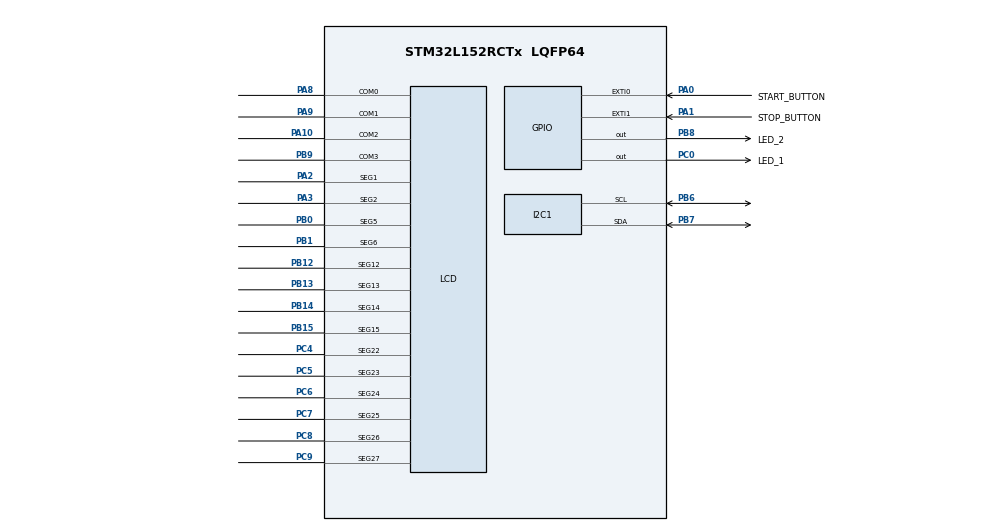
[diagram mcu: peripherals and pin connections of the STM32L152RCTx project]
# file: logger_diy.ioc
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LCD.Contrast=LCD_CONTRASTLEVEL_3
LCD.HighDrive=ENABLE
LCD.PulseOnDuration=LCD_PULSEONDURATION_7
Mcu.Family=STM32L1
Mcu.Name=STM32L152RCTx
Mcu.Package=LQFP64
NVIC.EXTI1_IRQn=true\:0\:0\:false\:false\:true\:true\:true\:true
NVIC.PriorityGroup=NVIC_PRIORITYGROUP_4
PA0-WKUP1.GPIO_Label=START_BUTTON
PA0-WKUP1.GPIO_PuPd=GPIO_PULLUP
PA0-WKUP1.Signal=GPXTI0
PA1.GPIO_Label=STOP_BUTTON
PA1.GPIO_PuPd=GPIO_PULLUP
PA1.Signal=GPXTI1
PA10.Mode=1/4 Duty Cycle
PA10.Signal=LCD_COM2
PA13.Mode=Serial_Wire
PA13.Signal=SYS_JTMS-SWDIO
PA14.Mode=Serial_Wire
PA14.Signal=SYS_JTCK-SWCLK
PA2.Mode=SEG1
PA2.Signal=LCD_SEG1
PA3.Mode=SEG2
PA3.Signal=LCD_SEG2
PA8.Mode=1/4 Duty Cycle
PA8.Signal=LCD_COM0
PA9.Mode=1/4 Duty Cycle
PA9.Signal=LCD_COM1
PB0.Mode=SEG5
PB0.Signal=LCD_SEG5
PB1.Mode=SEG6
PB1.Signal=LCD_SEG6
PB12.Mode=SEG12
PB12.Signal=LCD_SEG12
PB13.Mode=SEG13
PB13.Signal=LCD_SEG13
PB14.Mode=SEG14
PB14.Signal=LCD_SEG14
PB15.Mode=SEG15
PB15.Signal=LCD_SEG15
PB6.Mode=I2C
PB6.Signal=I2C1_SCL
PB7.Mode=I2C
PB7.Signal=I2C1_SDA
PB8.GPIO_Label=LED_2
PB8.Signal=GPIO_Output
PB9.Mode=1/4 Duty Cycle
PB9.Signal=LCD_COM3
PC0.GPIO_Label=LED_1
PC0.Signal=GPIO_Output
PC14-OSC32_IN.Mode=LSE-External-Oscillator
PC14-OSC32_IN.Signal=RCC_OSC32_IN
PC15-OSC32_OUT.Mode=LSE-External-Oscillator
PC15-OSC32_OUT.Signal=RCC_OSC32_OUT
PC4.Mode=SEG22
PC4.Signal=LCD_SEG22
PC5.Mode=SEG23
PC5.Signal=LCD_SEG23
PC6.Mode=SEG24
PC6.Signal=LCD_SEG24
PC7.Mode=SEG25
PC7.Signal=LCD_SEG25
PC8.Mode=SEG26
PC8.Signal=LCD_SEG26
PC9.Mode=SEG27
PC9.Signal=LCD_SEG27
PH0-OSC_IN.Mode=HSE-External-Oscillator
PH0-OSC_IN.Signal=RCC_OSC_IN
PH1-OSC_OUT.Mode=HSE-External-Oscillator
PH1-OSC_OUT.Signal=RCC_OSC_OUT
ProjectManager.HeapSize=0x200
ProjectManager.StackSize=0x400
ProjectManager.TargetToolchain=STM32CubeIDE
RCC.48MHZClocksFreq_Value=12000000
RCC.AHBCLKDivider=RCC_SYSCLK_DIV4
RCC.AHBFreq_Value=524250
RCC.APB1Freq_Value=524250
RCC.APB1TimFreq_Value=524250
RCC.APB2Freq_Value=524250
RCC.APB2TimFreq_Value=524250
RCC.HCLKFreq_Value=524250
RCC.HSE_VALUE=8000000
RCC.HSI_VALUE=16000000
RCC.MSI_VALUE=2097000
RCC.PLLDIV=RCC_PLL_DIV3
RCC.PLLSourceVirtual=RCC_PLLSOURCE_HSE
RCC.RTCClockSelection=RCC_RTCCLKSOURCE_LSE
RCC.RTCClockSelectionVirtual=RCC_RTCCLKSOURCE_LSE
RCC.SYSCLKFreq_VALUE=2097000
RCC.VCOOutputFreq_Value=24000000
board=custom

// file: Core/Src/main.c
/* USER CODE BEGIN Header */
/**
  ******************************************************************************
  * @file           : main.c
  * @brief          : Main program body
  ******************************************************************************
  * @attention
  *
  * Copyright (c) 2024 STMicroelectronics.
  * All rights reserved.
  *
  * This software is licensed under terms that can be found in the LICENSE file
  * in the root directory of this software component.
  * If no LICENSE file comes with this software, it is provided AS-IS.
  *
  ******************************************************************************
  */
/* USER CODE END Header */
#include "main.h"

/* USER CODE BEGIN Includes */
#include "TempTale.h"
#include "TempTale_LCD.h"

/* USER CODE END Includes */

/* USER CODE BEGIN PD */

TT_COM com = TT_COM_0;
TMP112_t sensor={0};
/* USER CODE END PD */

/* USER CODE BEGIN PM */

extern bmp_t  bmp;

TempTale_t device;
/* USER CODE END PM */

I2C_HandleTypeDef hi2c1;

LCD_HandleTypeDef hlcd;

/* USER CODE BEGIN PV */

void HAL_GPIO_EXTI_Callback(uint16_t GPIO_Pin)
{
    uint32_t press_time = HAL_GetTick()-device.button_press_time;

    if(press_time>300 && device.button_pressed)
    {
//        HAL_GPIO_TogglePin(LED_1_GPIO_Port,LED_1_Pin);

        if(GPIO_Pin == START_BUTTON_Pin)
        {
            TT_start_button_long_press_handler();
        }

        if(GPIO_Pin == STOP_BUTTON_Pin)
        {
            TT_stop_button_long_press_handler();
        }
    }
    else
    {
        if(GPIO_Pin == START_BUTTON_Pin)
        {
            TT_start_button_click_handler();
        }

        if(GPIO_Pin == STOP_BUTTON_Pin)
        {
            TT_stop_button_click_handler();
        }
    }

//    HAL_GPIO_TogglePin(LED_1_GPIO_Port,LED_1_Pin);
//    HAL_GPIO_TogglePin(LED_2_GPIO_Port,LED_2_Pin);
    device.button_pressed = 0;
}

int TT_start_button_click_handler()
{
    TT_toggle_mode(&device);
    return 0;
}

int TT_stop_button_click_handler()
{
    //HAL_GPIO_TogglePin(LED_1_GPIO_Port,LED_1_Pin);
    return 0;
}
int TT_start_button_long_press_handler()
{
    //HAL_GPIO_TogglePin(LED_2_GPIO_Port,LED_2_Pin);
    TT_toggle_mode(&device);
    return 0;
}

int TT_stop_button_long_press_handler()
{
//    HAL_GPIO_TogglePin(LED_1_GPIO_Port,LED_1_Pin);
    device.enter_standby = 1;
//    TT_enter_standby();
    return 0;
}

int pressure_refresh()
{

    bmp.uncomp.temp = get_ut ();
    bmp.data.temp = get_temp (&bmp);
    bmp.uncomp.press = get_up (bmp.oss);
    bmp.data.press = get_pressure (bmp);
    bmp.data.altitude = get_altitude (&bmp);

    TT_add_pressure_record(&device);

    return 0;
}
int temperature_refresh()
{
    if(TMP_Read(&sensor)!=0)
    {
        // while (1);
    }
    return 0;
}

int button_press_handler()
{
    if(!HAL_GPIO_ReadPin(START_BUTTON_GPIO_Port,START_BUTTON_Pin) || !HAL_GPIO_ReadPin(STOP_BUTTON_GPIO_Port,STOP_BUTTON_Pin))  //If any of the buttons is pressed
    {
        if(device.button_pressed)
        {

        } else
        {
            device.button_pressed=1;
            device.button_press_time = HAL_GetTick();
        }

    }
    return 0;
}

/* USER CODE END PV */

void SystemClock_Config(void);
static void MX_GPIO_Init(void);
static void MX_LCD_Init(void);
static void MX_I2C1_Init(void);
/* USER CODE BEGIN PFP */

void TT_enter_standby()
{
    HAL_GPIO_WritePin(LED_2_GPIO_Port,LED_2_Pin,1);
    HAL_Delay(10);
    HAL_GPIO_WritePin(LED_2_GPIO_Port,LED_2_Pin,0);

    HAL_SuspendTick();
    HAL_LCD_DeInit(&hlcd);

    HAL_GPIO_WritePin(LED_1_GPIO_Port,LED_1_Pin,0);
    HAL_GPIO_WritePin(LED_2_GPIO_Port,LED_2_Pin,0);
    bmp_disable(&bmp);
    HAL_I2C_DeInit(&hi2c1);
    HAL_PWR_EnterSTOPMode(PWR_LOWPOWERREGULATOR_ON,PWR_STOPENTRY_WFI);
//    HAL_PWR_EnableWakeUpPin(PWR_WAKEUP_PIN1);
//    HAL_PWR_EnterSTANDBYMode();
    //Return back to normal power state:
    HAL_I2C_Init(&hi2c1);
    SystemClock_Config();
    bmp_init(&bmp);
    TempTale_init(&device);
    HAL_LCD_Init(&hlcd);
    HAL_GPIO_WritePin(LED_1_GPIO_Port,LED_1_Pin,1);
    HAL_Delay(10);
    HAL_GPIO_WritePin(LED_1_GPIO_Port,LED_1_Pin,0);
    //For some reason enabling WakeUp pin makes is wake up instantly in standby

}
/* USER CODE END PFP */

int main(void)
{

  /* MCU Configuration--------------------------------------------------------*/

  /* Reset of all peripherals, Initializes the Flash interface and the Systick. */
  HAL_Init();

  /* Configure the system clock */
  SystemClock_Config();

  /* Initialize all configured peripherals */
  MX_GPIO_Init();
  MX_LCD_Init();
  MX_I2C1_Init();

  /* Infinite loop */
  /* USER CODE BEGIN WHILE */

    TT_Display_t lcd;
    lcd.hlcd = &hlcd;
    sensor.i2c = &hi2c1;
    bmp_init(&bmp);

    device.lcd = &lcd;
    device.pressure_sensor = &bmp;
    device.temperature_sensor = &sensor;
    device.state = TT_Altitude;

   // pressure_refresh();

//    for(int i = 0; i <TT_PRESSURE_RECORD_COUNT; i++)
//    {
//        pressure_refresh();
//    }

    TempTale_init(&device);

    HAL_GPIO_WritePin(LED_1_GPIO_Port,LED_1_Pin,0);
    HAL_GPIO_WritePin(LED_2_GPIO_Port,LED_2_Pin,0);

    int k=0;

    while (1)
  {
      /* USER CODE END WHILE */

      /* USER CODE BEGIN 3 */

    while(1) {

        for(int i = 0; i <2; i++)
        {
            pressure_refresh();
        }
        temperature_refresh();

        HAL_LCD_Clear(&hlcd);
        TempTale_mode_executor(&device);
        HAL_LCD_UpdateDisplayRequest(&hlcd);

        if(!device.zero_set)
        {
            if(k == 30)
            {
                device.zero_altitude = TT_avg_altitude(&device);
                device.zero_set = 1;
            }

        }

//        HAL_Delay(150);

        //HAL_GPIO_TogglePin(LED_2_GPIO_Port,LED_2_Pin);

        button_press_handler();

        k++;

        if(device.enter_standby)
        {
            TT_enter_standby();
            device.enter_standby = 0;
        }
    }
  }
  /* USER CODE END 3 */
}

void SystemClock_Config(void)
{
  RCC_OscInitTypeDef RCC_OscInitStruct = {0};
  RCC_ClkInitTypeDef RCC_ClkInitStruct = {0};
  RCC_PeriphCLKInitTypeDef PeriphClkInit = {0};

  /** Configure the main internal regulator output voltage
  */
  __HAL_PWR_VOLTAGESCALING_CONFIG(PWR_REGULATOR_VOLTAGE_SCALE1);

  /** Initializes the RCC Oscillators according to the specified parameters
  * in the RCC_OscInitTypeDef structure.
  */
  RCC_OscInitStruct.OscillatorType = RCC_OSCILLATORTYPE_HSE|RCC_OSCILLATORTYPE_LSE;
  RCC_OscInitStruct.HSEState = RCC_HSE_ON;
  RCC_OscInitStruct.LSEState = RCC_LSE_ON;
  RCC_OscInitStruct.PLL.PLLState = RCC_PLL_NONE;
  if (HAL_RCC_OscConfig(&RCC_OscInitStruct) != HAL_OK)
  {
    Error_Handler();
  }

  /** Initializes the CPU, AHB and APB buses clocks
  */
  RCC_ClkInitStruct.ClockType = RCC_CLOCKTYPE_HCLK|RCC_CLOCKTYPE_SYSCLK
                              |RCC_CLOCKTYPE_PCLK1|RCC_CLOCKTYPE_PCLK2;
  RCC_ClkInitStruct.SYSCLKSource = RCC_SYSCLKSOURCE_HSE;
  RCC_ClkInitStruct.AHBCLKDivider = RCC_SYSCLK_DIV4;
  RCC_ClkInitStruct.APB1CLKDivider = RCC_HCLK_DIV1;
  RCC_ClkInitStruct.APB2CLKDivider = RCC_HCLK_DIV1;

  if (HAL_RCC_ClockConfig(&RCC_ClkInitStruct, FLASH_LATENCY_0) != HAL_OK)
  {
    Error_Handler();
  }
  PeriphClkInit.PeriphClockSelection = RCC_PERIPHCLK_RTC|RCC_PERIPHCLK_LCD;
  PeriphClkInit.RTCClockSelection = RCC_RTCCLKSOURCE_LSE;
  PeriphClkInit.LCDClockSelection = RCC_RTCCLKSOURCE_LSE;

  if (HAL_RCCEx_PeriphCLKConfig(&PeriphClkInit) != HAL_OK)
  {
    Error_Handler();
  }
}

static void MX_I2C1_Init(void)
{

  hi2c1.Instance = I2C1;
  hi2c1.Init.ClockSpeed = 100000;
  hi2c1.Init.DutyCycle = I2C_DUTYCYCLE_2;
  hi2c1.Init.OwnAddress1 = 0;
  hi2c1.Init.AddressingMode = I2C_ADDRESSINGMODE_7BIT;
  hi2c1.Init.DualAddressMode = I2C_DUALADDRESS_DISABLE;
  hi2c1.Init.OwnAddress2 = 0;
  hi2c1.Init.GeneralCallMode = I2C_GENERALCALL_DISABLE;
  hi2c1.Init.NoStretchMode = I2C_NOSTRETCH_DISABLE;
  if (HAL_I2C_Init(&hi2c1) != HAL_OK)
  {
    Error_Handler();
  }

}

static void MX_LCD_Init(void)
{

  hlcd.Instance = LCD;
  hlcd.Init.Prescaler = LCD_PRESCALER_1;
  hlcd.Init.Divider = LCD_DIVIDER_16;
  hlcd.Init.Duty = LCD_DUTY_1_4;
  hlcd.Init.Bias = LCD_BIAS_1_4;
  hlcd.Init.VoltageSource = LCD_VOLTAGESOURCE_INTERNAL;
  hlcd.Init.Contrast = LCD_CONTRASTLEVEL_3;
  hlcd.Init.DeadTime = LCD_DEADTIME_0;
  hlcd.Init.PulseOnDuration = LCD_PULSEONDURATION_7;
  hlcd.Init.MuxSegment = LCD_MUXSEGMENT_DISABLE;
  hlcd.Init.BlinkMode = LCD_BLINKMODE_OFF;
  hlcd.Init.BlinkFrequency = LCD_BLINKFREQUENCY_DIV8;
  if (HAL_LCD_Init(&hlcd) != HAL_OK)
  {
    Error_Handler();
  }

  /** Enable the High Driver
  */
  __HAL_LCD_HIGHDRIVER_ENABLE(&hlcd);

}

static void MX_GPIO_Init(void)
{
  GPIO_InitTypeDef GPIO_InitStruct = {0};

  /* GPIO Ports Clock Enable */
  __HAL_RCC_GPIOC_CLK_ENABLE();
  __HAL_RCC_GPIOH_CLK_ENABLE();
  __HAL_RCC_GPIOA_CLK_ENABLE();
  __HAL_RCC_GPIOB_CLK_ENABLE();

  /*Configure GPIO pin Output Level */
  HAL_GPIO_WritePin(LED_1_GPIO_Port, LED_1_Pin, GPIO_PIN_RESET);

  /*Configure GPIO pin Output Level */
  HAL_GPIO_WritePin(LED_2_GPIO_Port, LED_2_Pin, GPIO_PIN_RESET);

  /*Configure GPIO pin : LED_1_Pin */
  GPIO_InitStruct.Pin = LED_1_Pin;
  GPIO_InitStruct.Mode = GPIO_MODE_OUTPUT_PP;
  GPIO_InitStruct.Pull = GPIO_NOPULL;
  GPIO_InitStruct.Speed = GPIO_SPEED_FREQ_LOW;
  HAL_GPIO_Init(LED_1_GPIO_Port, &GPIO_InitStruct);

  /*Configure GPIO pins : START_BUTTON_Pin STOP_BUTTON_Pin */
  GPIO_InitStruct.Pin = START_BUTTON_Pin|STOP_BUTTON_Pin;
  GPIO_InitStruct.Mode = GPIO_MODE_IT_RISING;
  GPIO_InitStruct.Pull = GPIO_PULLUP;
  HAL_GPIO_Init(GPIOA, &GPIO_InitStruct);

  /*Configure GPIO pin : LED_2_Pin */
  GPIO_InitStruct.Pin = LED_2_Pin;
  GPIO_InitStruct.Mode = GPIO_MODE_OUTPUT_PP;
  GPIO_InitStruct.Pull = GPIO_NOPULL;
  GPIO_InitStruct.Speed = GPIO_SPEED_FREQ_LOW;
  HAL_GPIO_Init(LED_2_GPIO_Port, &GPIO_InitStruct);

  /* EXTI interrupt init*/
  HAL_NVIC_SetPriority(EXTI0_IRQn, 3, 0);
  HAL_NVIC_EnableIRQ(EXTI0_IRQn);

  HAL_NVIC_SetPriority(EXTI1_IRQn, 3, 0);
  HAL_NVIC_EnableIRQ(EXTI1_IRQn);

}

void Error_Handler(void)
{
  __disable_irq();
  while (1)
  {
  }
}
